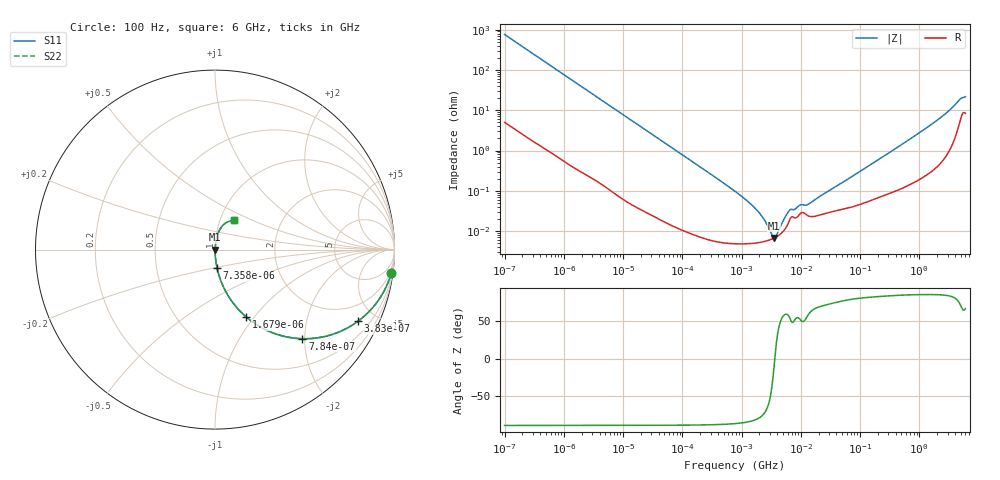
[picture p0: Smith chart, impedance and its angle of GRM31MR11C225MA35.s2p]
!Murata Part Number: GRM31MR11C225MA35
!These Parameters are Measured in Series Mode Connection
!Data Generated on Mar 30, 2021
!  o--ll--o
!Port1  Port2
!  o------o
!Operation Temp=25[degC], DC Bias Voltage=0[V]
!Freq. Start=100[Hz] Stop=6[GHz] 401[Steps]
# Hz S RI R 50
!Freq.(Hz) S11(Real) S11(Imag) S21(Real) S21(Imag) S12(Real) S12(Imag) S22(Real) S22(Imag)
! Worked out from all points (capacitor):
!   401 points, 100 Hz to 6 GHz, reference 50 ohm
!   read as one part in series: C = 2.1 uF near 109 Hz
!   lowest |Z| = 6.81 mohm at 3.55 MHz (marker M1)
!   series resonance near 3.635 MHz, so ESL is about 910 pH
!   S11 on the Smith chart (normalised r, x): 100 Hz: 1, -15; 383 Hz: 1.03, -3.98; 784 Hz: 1.01, -1.95; 1.679 kHz: 1.01, -0.91; 7.358 kHz: 1.00, -0.21; 6 GHz: 1.17, +0.40
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100  0.9821 -0.1295  0.0179 0.1295  0.0179 0.1295  0.9821 -0.1295
214  0.925 -0.26  0.075 0.26  0.075 0.26  0.925 -0.26
383  0.7966 -0.3992  0.2034 0.3992  0.2034 0.3992  0.7966 -0.3992
784  0.4873 -0.4963  0.5127 0.4963  0.5127 0.4963  0.4873 -0.4963
1679  0.1744 -0.3758  0.8256 0.3758  0.8256 0.3758  0.1744 -0.3758
2008  0.1293 -0.3318  0.8707 0.3318  0.8707 0.3318  0.1293 -0.3318
3437  0.0493 -0.2125  0.9507 0.2125  0.9507 0.2125  0.0493 -0.2125
7358  0.0117 -0.1037  0.9883 0.1037  0.9883 0.1037  0.0117 -0.1037
40335  0.000571 -0.0193  0.9994 0.0193  0.9994 0.0193  0.000571 -0.0193
774597  4.94e-05 -0.000973  1 0.000973  1 0.000973  4.94e-05 -0.000973
1658239  5.03e-05 -0.000378  0.9999 0.000378  0.9999 0.000378  5.03e-05 -0.000378
2268635  5.4e-05 -0.000214  0.9999 0.000214  0.9999 0.000214  5.4e-05 -0.000214
2967816  6.03e-05 -8.97e-05  0.9999 8.97e-05  0.9999 8.97e-05  6.03e-05 -8.97e-05
3549919  6.73e-05 -1.04e-05  0.9999 1.04e-05  0.9999 1.04e-05  6.73e-05 -1.04e-05
4246196  7.86e-05 7.01e-05  0.9999 -7.01e-05  0.9999 -7.01e-05  7.86e-05 7.01e-05
5809218  0.000132 0.000227  0.9999 -0.000227  0.9999 -0.000227  0.000132 0.000227
6644369  0.000205 0.000273  0.9998 -0.000273  0.9998 -0.000273  0.000205 0.000273
1.555665e7  0.000229 0.00049  0.9998 -0.00049  0.9998 -0.00049  0.000229 0.00049
3.124326e8  0.000935 0.00882  0.9991 -0.00882  0.9991 -0.00882  0.000935 0.00882
2.931063e9  0.0152 0.0857  0.9848 -0.0857  0.9848 -0.0857  0.0152 0.0857
4.796499e9  0.0736 0.1557  0.9264 -0.1557  0.9264 -0.1557  0.0736 0.1557
6e9  0.1076 0.165  0.8924 -0.165  0.8924 -0.165  0.1076 0.165
